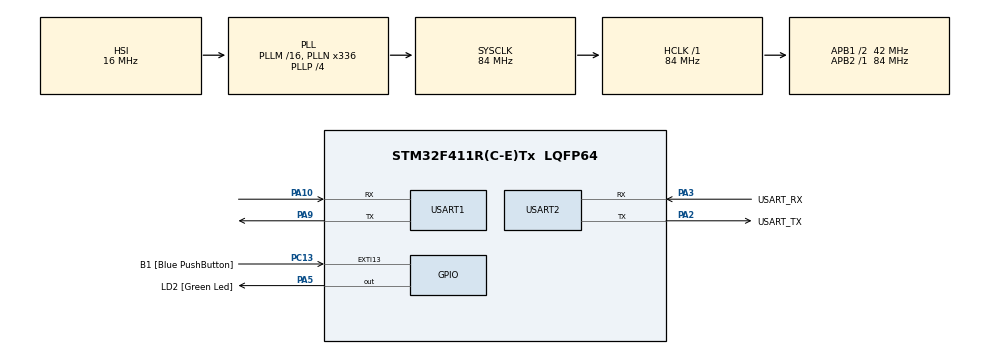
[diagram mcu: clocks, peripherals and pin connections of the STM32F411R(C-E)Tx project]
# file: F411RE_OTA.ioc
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IWDG.Prescaler=IWDG_PRESCALER_64
IWDG.Reload=2000
Mcu.Family=STM32F4
Mcu.Name=STM32F411R(C-E)Tx
Mcu.Package=LQFP64
NVIC.FLASH_IRQn=true\:0\:0\:false\:false\:true\:true\:true\:true
NVIC.PriorityGroup=NVIC_PRIORITYGROUP_0
NVIC.USART1_IRQn=true\:0\:0\:false\:false\:true\:true\:true\:true
PA10.Mode=Asynchronous
PA10.Signal=USART1_RX
PA13.GPIO_Label=TMS
PA13.Mode=Serial_Wire
PA13.Signal=SYS_JTMS-SWDIO
PA14.GPIO_Label=TCK
PA14.Mode=Serial_Wire
PA14.Signal=SYS_JTCK-SWCLK
PA2.GPIO_Label=USART_TX
PA2.Mode=Asynchronous
PA2.Signal=USART2_TX
PA3.GPIO_Label=USART_RX
PA3.Mode=Asynchronous
PA3.Signal=USART2_RX
PA5.GPIO_Label=LD2 [Green Led]
PA5.Signal=GPIO_Output
PA9.Mode=Asynchronous
PA9.Signal=USART1_TX
PB3.GPIO_Label=SWO
PB3.Signal=SYS_JTDO-SWO
PC13-ANTI_TAMP.GPIO_Label=B1 [Blue PushButton]
PC13-ANTI_TAMP.GPIO_ModeDefaultEXTI=GPIO_MODE_IT_FALLING
PC13-ANTI_TAMP.Signal=GPXTI13
PC14-OSC32_IN.Mode=LSE-External-Oscillator
PC14-OSC32_IN.Signal=RCC_OSC32_IN
PC15-OSC32_OUT.Mode=LSE-External-Oscillator
PC15-OSC32_OUT.Signal=RCC_OSC32_OUT
PH0\ -\ OSC_IN.Mode=HSE-External-Clock-Source
PH0\ -\ OSC_IN.Signal=RCC_OSC_IN
PH1\ -\ OSC_OUT.Mode=HSE-External-Clock-Source
PH1\ -\ OSC_OUT.Signal=RCC_OSC_OUT
ProjectManager.HeapSize=0x200
ProjectManager.StackSize=0x400
ProjectManager.TargetToolchain=CMake
RCC.48MHZClocksFreq_Value=84000000
RCC.AHBFreq_Value=84000000
RCC.APB1CLKDivider=RCC_HCLK_DIV2
RCC.APB1Freq_Value=42000000
RCC.APB1TimFreq_Value=84000000
RCC.APB2Freq_Value=84000000
RCC.APB2TimFreq_Value=84000000
RCC.CortexFreq_Value=84000000
RCC.FLatency-AdvancedSettings=FLASH_LATENCY_2
RCC.HCLKFreq_Value=84000000
RCC.HSE_VALUE=8000000
RCC.HSI_VALUE=16000000
RCC.PLLN=336
RCC.PLLP=RCC_PLLP_DIV4
RCC.SYSCLKFreq_VALUE=84000000
RCC.SYSCLKSource=RCC_SYSCLKSOURCE_PLLCLK
RCC.VCOOutputFreq_Value=336000000
USART1.VirtualMode=VM_ASYNC
USART2.VirtualMode=VM_ASYNC
VP_CRC_VS_CRC.Mode=CRC_Activate
VP_IWDG_VS_IWDG.Mode=IWDG_Activate
board=NUCLEO-F411RE

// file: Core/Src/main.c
/* USER CODE BEGIN Header */
/**
  ******************************************************************************
  * @file           : main.c
  * @brief          : Main program body
  ******************************************************************************
  * @attention
  *
  * Copyright (c) 2026 STMicroelectronics.
  * All rights reserved.
  *
  * This software is licensed under terms that can be found in the LICENSE file
  * in the root directory of this software component.
  * If no LICENSE file comes with this software, it is provided AS-IS.
  *
  ******************************************************************************
  */
/* USER CODE END Header */
#include "main.h"

/* USER CODE BEGIN Includes */
#include <stdio.h>
#include "esp_ota_flash.h"
#include "stm32f4xx_hal_crc.h"
/* USER CODE END Includes */

/* USER CODE BEGIN PM */
#define PUTCHAR_PROTOTYPE int __io_putchar(int ch)
#define GETCHAR_PROTOTYPE int __io_getchar (void)
/* USER CODE END PM */

CRC_HandleTypeDef hcrc;

IWDG_HandleTypeDef hiwdg;

UART_HandleTypeDef huart1;
UART_HandleTypeDef huart2;

/* USER CODE BEGIN PV */
uint16_t count = 0;
const uint8_t ack = 0x79;
const uint8_t ready_response = 0x78;
const uint8_t nack = 0x1F;
const uint8_t stop_send_ack = 0x1E;
uint8_t rx_buff[TX_CHUNK_SIZE];
volatile uint8_t rx_complete_flag = 0;
volatile uint8_t switch_to_main_flag = 0;
uint8_t rx_byte;
uint8_t rx_index = 0;
typedef enum {WAIT_START_1, WAIT_START_2, WAIT_OTA_SEQUENCE, RECEIVE_PACKET} rx_state_t; // State machine for rx_packets
rx_state_t rx_state = WAIT_START_1;
uint16_t packet_number;
uint8_t  total_packets;
uint32_t packet_CRC;
uint32_t flash_pointer = FLASH_STAGING_START; // Used to keep track of where we are flashing
const uint32_t pending_flag = 0xBBBBBBBB;
const uint32_t valid_flag = 0xAAAAAAAA;
const uint32_t done_flag = 0xCCCCCCCC;
const uint32_t reset_flag = 0xDDDDDDDD;

static uint8_t bad_packet_count = 0;
static uint16_t last_packet_number = 0xFFFF;

uint8_t ota_start_count = 0;
uint8_t ota_main_count = 0;
/* USER CODE END PV */

void SystemClock_Config(void);
static void MX_GPIO_Init(void);
static void MX_USART2_UART_Init(void);
static void MX_USART1_UART_Init(void);
static void MX_CRC_Init(void);
static void MX_IWDG_Init(void);

int main(void)
{

  /* MCU Configuration--------------------------------------------------------*/

  /* Reset of all peripherals, Initializes the Flash interface and the Systick. */
  HAL_Init();

  /* Configure the system clock */
  SystemClock_Config();

  /* Initialize all configured peripherals */
  MX_GPIO_Init();
  MX_USART2_UART_Init();
  MX_USART1_UART_Init();
  MX_CRC_Init();
  MX_IWDG_Init();
  /* USER CODE BEGIN 2 */
  HAL_UART_Receive_IT(&huart1, &rx_byte, 1);

  // Check if we reset because of a watchdog timer
  if(__HAL_RCC_GET_FLAG(RCC_FLAG_IWDGRST)){
    // Handle it
    printf("Our Firmware Failed\r\n");
    __HAL_RCC_CLEAR_RESET_FLAGS();
    ota_flash_erase_sector(FLASH_FLAG_SECTOR); // Reset flags
    ota_flash_write(FLASH_FLAG_START, (uint8_t*)&reset_flag, sizeof(reset_flag));
  }
  // Check flag (just for testing right now)
  uint32_t flag = *(uint32_t*)FLASH_FLAG_START;
  printf("Flag: %X\r\n", flag);
  uint16_t flash_packet_number = *(uint16_t*)FLASH_SIZE_START;
  printf("Number of packets: %d\r\n", flash_packet_number);
  uint32_t stage_valid_count = *(uint32_t*)FLASH_VALID_COUNT_START;
  printf("Number valid attempts: %d\r\n", stage_valid_count);
  if (flag == valid_flag){ // 'Valid'
    ota_move_to_main(flash_packet_number);
    ota_flash_erase_sector(FLASH_FLAG_SECTOR); // Reset flags
    ota_flash_write(FLASH_FLAG_START, (uint8_t*)&done_flag, sizeof(done_flag));
    ota_flash_jump(FLASH_MAIN_START);
  } else if(flag == pending_flag){
    ota_flash_jump(FLASH_STAGING_START);
  } else if (flag == done_flag){ // Finished so we should just be jumping into main
    ota_flash_jump(FLASH_MAIN_START);
  } else if(flag == reset_flag){ // We just reset from main
    HAL_UART_Transmit(&huart1, &ready_response, 1, HAL_MAX_DELAY);
  }

  /* USER CODE END 2 */

  /* Infinite loop */
  while (1)
  {

    /* USER CODE BEGIN 3 */
    HAL_IWDG_Refresh(&hiwdg);
    if(switch_to_main_flag){
      HAL_UART_Transmit(&huart1, &ready_response, 1, HAL_MAX_DELAY);
      ota_flash_erase_sector(FLASH_FLAG_SECTOR); // Reset flags
      ota_flash_write(FLASH_FLAG_START, (uint8_t*)&done_flag, sizeof(done_flag));
      switch_to_main_flag = 0;
      ota_flash_jump(FLASH_MAIN_START);
    }
    if(rx_complete_flag)
    {
      HAL_IWDG_Refresh(&hiwdg);
      // Check end delimiters
      if(rx_buff[TX_END_DELIM_1_INDEX] != TX_END_DELIM_1 || rx_buff[TX_END_DELIM_2_INDEX] != TX_END_DELIM_2)
      {
        printf("Invalid end delimiter!\r\n");
        rx_complete_flag = 0;
      }
      // Little endian here so we need to push the last bytes to the left cuz they are MSB
      packet_number = rx_buff[0] | (rx_buff[1] << 8);
      total_packets = rx_buff[2];
      packet_CRC =  rx_buff[TX_START_CRC_INDEX] |
                        (rx_buff[TX_START_CRC_INDEX+1] << 8) |
                        (rx_buff[TX_START_CRC_INDEX+2] << 16) |
                        (rx_buff[TX_START_CRC_INDEX+3] << 24);
      // Check the CRC of the packet to see if it matches
      uint32_t crc = HAL_CRC_Calculate(&hcrc, (uint32_t*)&rx_buff[3], TX_DATA_SIZE/4);
      if(crc != packet_CRC){
        last_packet_number = packet_number;
        //Handle error
        printf("CRC Mismatch for packet %u!\r\n", packet_number);
        bad_packet_count++;
        rx_complete_flag = 0;
        if(bad_packet_count >= 3){ // We have had too many failed packet sends here
          HAL_UART_Transmit(&huart1, &stop_send_ack, 1, HAL_MAX_DELAY); // Stop send ack
          bad_packet_count = 0;
          flash_pointer = FLASH_STAGING_START;
          //ota_flash_jump(FLASH_MAIN_START);
          continue; // Leave loop
        }
        HAL_UART_Transmit(&huart1, &nack, 1, HAL_MAX_DELAY); // NACK
        continue;
      }
      if(last_packet_number == packet_number){
        // If we are sending the last packet and we make it past the CRC check reset bad_packet_count
        bad_packet_count = 0;
      }
      printf("Packet #: %u, Total Packets: %u, Incoming CRC: %lu Local CRC: %lu\r\n", packet_number, total_packets, packet_CRC, crc);
      if(packet_number == 0){
        // Start off by erasing the sector
        ota_flash_erase_sector(FLASH_STAGING_SECTOR);
        HAL_IWDG_Refresh(&hiwdg);
      }
      // Start flashing here
      ota_flash_write(flash_pointer, &rx_buff[3], TX_DATA_SIZE);
      HAL_IWDG_Refresh(&hiwdg);
      flash_pointer+=TX_DATA_SIZE;
      // ACK
      HAL_UART_Transmit(&huart1, &ack, 1, HAL_MAX_DELAY);
      rx_complete_flag = 0;
      if(packet_number >= total_packets){
        stage_valid_count = 0;
        // Then we are at final chunk
        flash_pointer = FLASH_STAGING_START;
        HAL_IWDG_Refresh(&hiwdg);
        // Set validity flag to 'pending'
        ota_flash_erase_sector(FLASH_FLAG_SECTOR);
        ota_flash_write(FLASH_FLAG_START, (uint8_t*)&pending_flag, sizeof(pending_flag));
        ota_flash_write(FLASH_SIZE_START, (uint8_t*)&packet_number, sizeof(packet_number)); // Put packet number into flash to use later
        ota_flash_write(FLASH_VALID_COUNT_START, (uint8_t*)&stage_valid_count, sizeof(uint32_t)); // Put packet number into flash to use later
        ota_flash_jump(FLASH_STAGING_START);
      }
    }

  }
  /* USER CODE END 3 */
}

void SystemClock_Config(void)
{
  RCC_OscInitTypeDef RCC_OscInitStruct = {0};
  RCC_ClkInitTypeDef RCC_ClkInitStruct = {0};

  /** Configure the main internal regulator output voltage
  */
  __HAL_RCC_PWR_CLK_ENABLE();
  __HAL_PWR_VOLTAGESCALING_CONFIG(PWR_REGULATOR_VOLTAGE_SCALE1);

  /** Initializes the RCC Oscillators according to the specified parameters
  * in the RCC_OscInitTypeDef structure.
  */
  RCC_OscInitStruct.OscillatorType = RCC_OSCILLATORTYPE_HSI|RCC_OSCILLATORTYPE_LSI;
  RCC_OscInitStruct.HSIState = RCC_HSI_ON;
  RCC_OscInitStruct.HSICalibrationValue = RCC_HSICALIBRATION_DEFAULT;
  RCC_OscInitStruct.LSIState = RCC_LSI_ON;
  RCC_OscInitStruct.PLL.PLLState = RCC_PLL_ON;
  RCC_OscInitStruct.PLL.PLLSource = RCC_PLLSOURCE_HSI;
  RCC_OscInitStruct.PLL.PLLM = 16;
  RCC_OscInitStruct.PLL.PLLN = 336;
  RCC_OscInitStruct.PLL.PLLP = RCC_PLLP_DIV4;
  RCC_OscInitStruct.PLL.PLLQ = 4;
  if (HAL_RCC_OscConfig(&RCC_OscInitStruct) != HAL_OK)
  {
    Error_Handler();
  }

  /** Initializes the CPU, AHB and APB buses clocks
  */
  RCC_ClkInitStruct.ClockType = RCC_CLOCKTYPE_HCLK|RCC_CLOCKTYPE_SYSCLK
                              |RCC_CLOCKTYPE_PCLK1|RCC_CLOCKTYPE_PCLK2;
  RCC_ClkInitStruct.SYSCLKSource = RCC_SYSCLKSOURCE_PLLCLK;
  RCC_ClkInitStruct.AHBCLKDivider = RCC_SYSCLK_DIV1;
  RCC_ClkInitStruct.APB1CLKDivider = RCC_HCLK_DIV2;
  RCC_ClkInitStruct.APB2CLKDivider = RCC_HCLK_DIV1;

  if (HAL_RCC_ClockConfig(&RCC_ClkInitStruct, FLASH_LATENCY_2) != HAL_OK)
  {
    Error_Handler();
  }
}

static void MX_CRC_Init(void)
{

  hcrc.Instance = CRC;
  if (HAL_CRC_Init(&hcrc) != HAL_OK)
  {
    Error_Handler();
  }

}

static void MX_IWDG_Init(void)
{

  hiwdg.Instance = IWDG;
  hiwdg.Init.Prescaler = IWDG_PRESCALER_64;
  hiwdg.Init.Reload = 2000;
  if (HAL_IWDG_Init(&hiwdg) != HAL_OK)
  {
    Error_Handler();
  }

}

static void MX_USART1_UART_Init(void)
{

  huart1.Instance = USART1;
  huart1.Init.BaudRate = 115200;
  huart1.Init.WordLength = UART_WORDLENGTH_8B;
  huart1.Init.StopBits = UART_STOPBITS_1;
  huart1.Init.Parity = UART_PARITY_NONE;
  huart1.Init.Mode = UART_MODE_TX_RX;
  huart1.Init.HwFlowCtl = UART_HWCONTROL_NONE;
  huart1.Init.OverSampling = UART_OVERSAMPLING_16;
  if (HAL_UART_Init(&huart1) != HAL_OK)
  {
    Error_Handler();
  }

}

static void MX_USART2_UART_Init(void)
{

  huart2.Instance = USART2;
  huart2.Init.BaudRate = 115200;
  huart2.Init.WordLength = UART_WORDLENGTH_8B;
  huart2.Init.StopBits = UART_STOPBITS_1;
  huart2.Init.Parity = UART_PARITY_NONE;
  huart2.Init.Mode = UART_MODE_TX_RX;
  huart2.Init.HwFlowCtl = UART_HWCONTROL_NONE;
  huart2.Init.OverSampling = UART_OVERSAMPLING_16;
  if (HAL_UART_Init(&huart2) != HAL_OK)
  {
    Error_Handler();
  }

}

static void MX_GPIO_Init(void)
{
  GPIO_InitTypeDef GPIO_InitStruct = {0};

  /* GPIO Ports Clock Enable */
  __HAL_RCC_GPIOC_CLK_ENABLE();
  __HAL_RCC_GPIOH_CLK_ENABLE();
  __HAL_RCC_GPIOA_CLK_ENABLE();
  __HAL_RCC_GPIOB_CLK_ENABLE();

  /*Configure GPIO pin Output Level */
  HAL_GPIO_WritePin(LD2_GPIO_Port, LD2_Pin, GPIO_PIN_RESET);

  /*Configure GPIO pin : B1_Pin */
  GPIO_InitStruct.Pin = B1_Pin;
  GPIO_InitStruct.Mode = GPIO_MODE_IT_FALLING;
  GPIO_InitStruct.Pull = GPIO_NOPULL;
  HAL_GPIO_Init(B1_GPIO_Port, &GPIO_InitStruct);

  /*Configure GPIO pin : LD2_Pin */
  GPIO_InitStruct.Pin = LD2_Pin;
  GPIO_InitStruct.Mode = GPIO_MODE_OUTPUT_PP;
  GPIO_InitStruct.Pull = GPIO_NOPULL;
  GPIO_InitStruct.Speed = GPIO_SPEED_FREQ_LOW;
  HAL_GPIO_Init(LD2_GPIO_Port, &GPIO_InitStruct);

}

/* USER CODE BEGIN 4 */
PUTCHAR_PROTOTYPE
{
     /* Place your implementation of fputc here */
      /* e.g. write a character to the USART1 and Loop until the end of transmission */
      HAL_UART_Transmit(&huart2, (uint8_t *)&ch, 1, 0xFFFF);
      return ch;
}

GETCHAR_PROTOTYPE
{
     uint8_t ch = 0;
     // Clear the Overrun flag just before receiving the first character
     __HAL_UART_CLEAR_OREFLAG(&huart2);

     HAL_UART_Receive(&huart2, (uint8_t *)&ch, 1, 5);
     return ch;
}

void HAL_UART_RxCpltCallback(UART_HandleTypeDef *huart)
{
  if(huart->Instance == USART1)
  {
    switch(rx_state)
    {
      case WAIT_START_1: // Waiting for first delim
        if(rx_byte == TX_START_DELIM_1)
            rx_state = WAIT_START_2;
        break;
      case WAIT_START_2: // Watiing for second delim
        if(rx_byte == TX_START_DELIM_2)
        {
            rx_index = 0; // Start collecting packet
            rx_state = WAIT_OTA_SEQUENCE;
        }
        else
            rx_state = WAIT_START_1; // Not a valid start
        break;
      case WAIT_OTA_SEQUENCE:
        if(rx_byte == TX_START_OTA_HEX) {
          ota_start_count++;
          if(ota_start_count >= 6) {
            HAL_UART_Transmit(&huart1, &ready_response, 1, HAL_MAX_DELAY);
            rx_state = WAIT_START_1; // Ready for real packets
          }
        } else if(rx_byte == TX_START_BOOTLOADER_HEX){
          ota_main_count++;
          if(ota_main_count >=6){
            switch_to_main_flag = 1;
            rx_state = WAIT_START_1;
          }
        } else {
          // Not OTA start
          rx_index = 0;
          rx_buff[rx_index++] = rx_byte;
          rx_state = RECEIVE_PACKET;
        }
        break;
      case RECEIVE_PACKET: // Start getting data
        rx_buff[rx_index++] = rx_byte;
        if(rx_index >= TX_CHUNK_SIZE - 2) // Already consumed 2 start bytes
        {
            rx_complete_flag = 1; // Packet is ready
            rx_state = WAIT_START_1; // Reset
            rx_index = 0; // Reset buffer
        }
        break;
    }
    HAL_UART_Receive_IT(&huart1, &rx_byte, 1);
  }
}

/* USER CODE END 4 */

void Error_Handler(void)
{
  __disable_irq();
  while (1)
  {
  }
}
